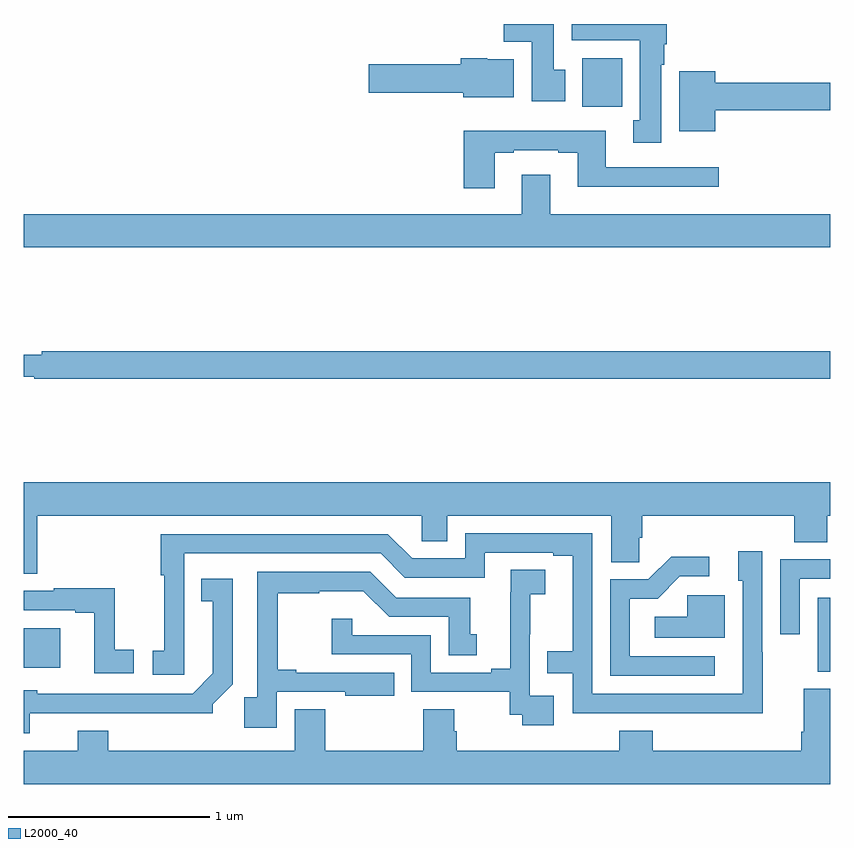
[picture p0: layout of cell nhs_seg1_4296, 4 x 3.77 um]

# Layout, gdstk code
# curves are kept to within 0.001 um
import gdstk
lib = gdstk.Library(unit=1e-6, precision=1e-09)
def R(c, l, rs):  # rectangles x0, y0, x1, y1
    for r in rs: c.add(gdstk.rectangle(r[:2], r[2:], *l))
def P(c, l, *ps):  # polygons
    for p in ps: c.add(gdstk.Polygon(p, *l))
L2000_40 = (2000, 40)

nhs_seg1_4296 = lib.new_cell('nhs_seg1_4296')
R(nhs_seg1_4296, L2000_40, [(348.938,522.985,349,523.351), (345,523.004,345.181,523.201), (347.771,525.788,347.968,526.03)])
P(nhs_seg1_4296, L2000_40, [(348.163,525.998),(348.178,525.998),(348.178,526.098),(348.19,526.098),(348.19,526.199),(347.717,526.199),(347.717,526.118),(348.056,526.118),(348.056,525.722),(348.023,525.722),(348.023,525.609),(348.163,525.609)],
  [(347.686,525.972),(347.629,525.972),(347.629,526.199),(347.38,526.199),(347.38,526.112),(347.519,526.112),(347.519,525.816),(347.686,525.816)],
  [(347.431,526.024),(347.298,526.024),(347.298,526.03),(347.168,526.03),(347.168,525.999),(346.71,525.999),(346.71,525.857),(347.18,525.857),(347.18,525.836),(347.431,525.836)],
  [(348.43,525.772),(349,525.772),(349,525.908),(348.43,525.908),(348.43,525.964),(348.251,525.964),(348.251,525.668),(348.43,525.668)],
  [(347.335,525.561),(347.431,525.561),(347.431,525.573),(347.651,525.573),(347.651,525.561),(347.747,525.561),(347.747,525.392),(348.448,525.392),(348.448,525.489),(347.887,525.489),(347.887,525.67),(347.183,525.67),(347.183,525.384),(347.335,525.384)],
  [(349,525.256),(347.611,525.256),(347.611,525.451),(347.471,525.451),(347.471,525.256),(345,525.256),(345,525.092),(349,525.092)],
  [(349,524.576),(345.088,524.576),(345.088,524.557),(345,524.557),(345,524.448),(345.052,524.448),(345.052,524.44),(349,524.44)],
  [(345.065,523.76),(346.974,523.76),(346.974,523.633),(347.101,523.633),(347.101,523.76),(347.915,523.76),(347.915,523.528),(348.054,523.528),(348.054,523.651),(348.068,523.651),(348.068,523.76),(348.821,523.76),(348.821,523.627),(348.986,523.627),(348.986,523.76),(349,523.76),(349,523.924),(345,523.924),(345,523.471),(345.065,523.471)],
  [(348.665,523.082),(348.663,523.082),(348.663,523.582),(348.545,523.582),(348.545,523.437),(348.567,523.437),(348.567,522.876),(347.82,522.876),(347.82,523.671),(347.19,523.671),(347.19,523.548),(346.926,523.548),(346.806,523.668),(345.679,523.668),(345.679,523.465),(345.697,523.465),(345.697,523.089),(345.639,523.089),(345.639,522.969),(345.796,522.969),(345.795,523.572),(346.77,523.572),(346.89,523.452),(347.286,523.452),(347.286,523.575),(347.627,523.575),(347.627,523.56),(347.723,523.56),(347.723,523.087),(347.596,523.087),(347.596,522.978),(347.724,522.978),(347.724,522.78),(348.665,522.779)],
  [(348.427,523.062),(348.006,523.062),(348.006,523.347),(348.144,523.347),(348.255,523.458),(348.4,523.458),(348.4,523.556),(348.212,523.556),(348.099,523.443),(347.91,523.443),(347.91,522.966),(348.427,522.966)],
  [(348.849,523.446),(349,523.446),(349,523.542),(348.753,523.542),(348.753,523.17),(348.849,523.17)],
  [(347.629,522.867),(347.511,522.867),(347.511,523.171),(347.513,523.171),(347.513,523.369),(347.587,523.369),(347.587,523.49),(347.416,523.49),(347.416,523.379),(347.414,523.379),(347.414,523.001),(347.318,523.001),(347.318,522.981),(347.019,522.981),(347.019,523.167),(346.629,523.167),(346.629,523.249),(346.528,523.249),(346.528,523.071),(346.923,523.071),(346.923,522.885),(347.41,522.885),(347.41,522.771),(347.473,522.771),(347.473,522.72),(347.629,522.72)],
  [(346.254,522.885),(346.595,522.885),(346.595,522.866),(346.838,522.866),(346.838,522.981),(346.351,522.981),(346.351,522.994),(346.259,522.994),(346.259,523.374),(346.466,523.374),(346.466,523.385),(346.684,523.385),(346.812,523.257),(347.108,523.257),(347.108,523.066),(347.248,523.066),(347.248,523.17),(347.215,523.17),(347.215,523.353),(346.848,523.353),(346.719,523.482),(346.158,523.482),(346.158,522.859),(346.093,522.859),(346.093,522.708),(346.254,522.708)],
  [(345.03,522.78),(345.936,522.779),(345.936,522.823),(346.035,522.922),(346.035,523.447),(345.88,523.447),(345.88,523.334),(345.938,523.334),(345.938,522.977),(345.837,522.876),(345.066,522.876),(345.066,522.892),(345,522.892),(345,522.681),(345.03,522.681)],
  [(345.544,523.094),(345.45,523.094),(345.45,523.399),(345.148,523.399),(345.148,523.386),(345,523.386),(345,523.29),(345.254,523.29),(345.254,523.278),(345.35,523.278),(345.35,522.978),(345.544,522.978)],
  [(348.478,523.365),(348.291,523.365),(348.291,523.258),(348.129,523.258),(348.129,523.154),(348.478,523.154)],
  [(349,522.9),(348.869,522.9),(348.869,522.688),(348.857,522.688),(348.857,522.592),(348.119,522.592),(348.119,522.691),(347.954,522.691),(347.954,522.592),(347.147,522.592),(347.147,522.69),(347.134,522.69),(347.134,522.8),(346.982,522.8),(346.982,522.592),(346.496,522.592),(346.496,522.8),(346.343,522.8),(346.343,522.592),(345.419,522.592),(345.419,522.691),(345.266,522.691),(345.266,522.592),(345,522.592),(345,522.428),(349,522.428)])

lib.write_gds('nhs_seg1_4296.gds')
